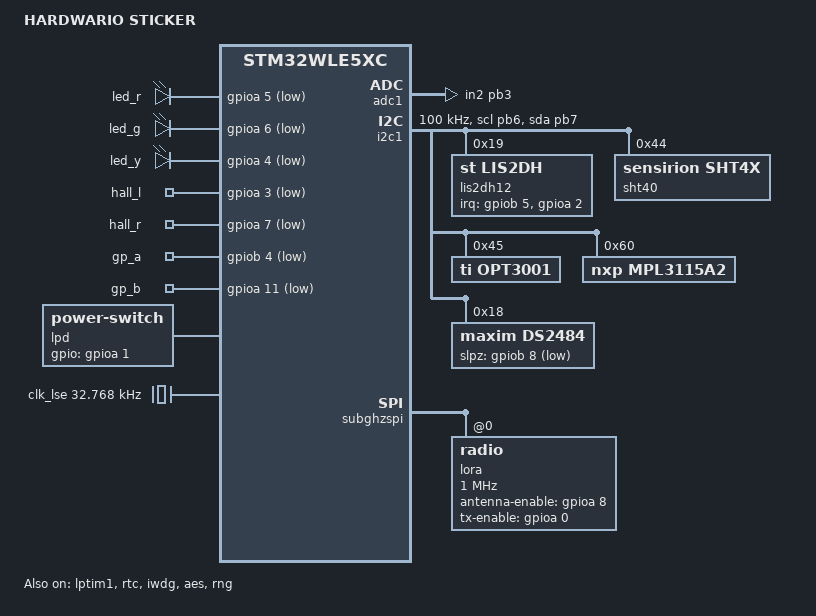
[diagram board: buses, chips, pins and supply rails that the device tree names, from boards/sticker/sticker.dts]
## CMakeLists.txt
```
#
# Copyright (c) 2024 HARDWARIO a.s.
#
# SPDX-License-Identifier: Apache-2.0
#

cmake_minimum_required(VERSION 3.20.0)

find_package(Zephyr REQUIRED HINTS $ENV{ZEPHYR_BASE})
project(sticker)

target_sources_ifdef(CONFIG_ADC app PRIVATE src/app_battery.c)
target_sources_ifdef(CONFIG_APP_PROFILE_STICKER_MOTION app PRIVATE src/app_pyq1648.c)
target_sources_ifdef(CONFIG_LIS2DH app PRIVATE src/app_accel.c)
target_sources_ifdef(CONFIG_OPT3001 app PRIVATE src/app_opt3001.c)
target_sources_ifdef(CONFIG_SHELL app PRIVATE src/app_tester.c)
target_sources_ifdef(CONFIG_SHT4X app PRIVATE src/app_sht40.c)
target_sources_ifdef(CONFIG_W1 app PRIVATE src/app_ds18b20.c)
target_sources_ifdef(CONFIG_W1 app PRIVATE src/app_w1.c)
target_sources_ifdef(CONFIG_WATCHDOG app PRIVATE src/app_wdog.c)
target_sources(app PRIVATE src/app_alarm.c)
target_sources(app PRIVATE src/app_compose.c)
target_sources(app PRIVATE src/app_config.c)
target_sources(app PRIVATE src/app_led.c)
target_sources(app PRIVATE src/app_lrw.c)
target_sources(app PRIVATE src/app_sensor.c)
target_sources(app PRIVATE src/main.c)
```

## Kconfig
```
#
# Copyright (c) 2025 HARDWARIO a.s.
#
# SPDX-License-Identifier: Apache-2.0
#

rsource "drivers/Kconfig"
```

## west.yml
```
manifest:
  version: "1.2"
  remotes:
    - name: hardwario
      url-base: https://github.com/hardwario
  projects:
    - name: sticker-zephyr
      remote: hardwario
      # Pinned to the head of v4.3.0-sticker2-branch so a release tag always
      # rebuilds the same Zephyr; bump the SHA together with the fork (#503).
      revision: 6f0a8bdfba79963e8fad0191f3df04021d31dc91
      path: zephyr
      import: true
  self:
    path: sticker
    west-commands: scripts/west-commands.yml
```

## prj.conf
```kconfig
# Application configuration

CONFIG_APP_PROFILE_STICKER_CLIME=y
CONFIG_APP_PROFILE_STICKER_INPUT=n
CONFIG_APP_PROFILE_STICKER_MOTION=n

CONFIG_APP_ALARM_INT_TEMP=n
CONFIG_APP_ALARM_EXT_TEMP=n

CONFIG_APP_ALARM_INT_TEMP_THR_LO_MUL_100=200
CONFIG_APP_ALARM_INT_TEMP_THR_HI_MUL_100=800
CONFIG_APP_ALARM_INT_TEMP_HST_MUL_100=50

CONFIG_APP_ALARM_EXT_TEMP_1_THR_LO_MUL_100=200
CONFIG_APP_ALARM_EXT_TEMP_1_THR_HI_MUL_100=800
CONFIG_APP_ALARM_EXT_TEMP_1_HST_MUL_100=50

CONFIG_APP_ALARM_EXT_TEMP_2_THR_LO_MUL_100=200
CONFIG_APP_ALARM_EXT_TEMP_2_THR_HI_MUL_100=800
CONFIG_APP_ALARM_EXT_TEMP_2_HST_MUL_100=50

# System configuration

CONFIG_HEAP_MEM_POOL_SIZE=4096
CONFIG_IDLE_STACK_SIZE=4096
CONFIG_ISR_STACK_SIZE=4096
CONFIG_MAIN_STACK_SIZE=4096
CONFIG_PRIVILEGED_STACK_SIZE=4096
CONFIG_SYSTEM_WORKQUEUE_STACK_SIZE=4096

CONFIG_REBOOT=y
CONFIG_I2C=y
CONFIG_SENSOR=y
CONFIG_PM=y
CONFIG_PM_DEVICE=y
CONFIG_PM_DEVICE_RUNTIME=y

CONFIG_SPI=y

CONFIG_NVS=y
CONFIG_FLASH=y
CONFIG_FLASH_MAP=y
CONFIG_SETTINGS=y

CONFIG_LORA=y
CONFIG_LORAMAC_REGION_EU868=y
CONFIG_LORAWAN_NVM_SETTINGS=y
CONFIG_LORAWAN_PUBLIC_NETWORK=n
CONFIG_LORAWAN=y

#CONFIG_LIS2DH_ACCEL_HP_FILTERS=y
CONFIG_LIS2DH_ACCEL_RANGE_4G=y
CONFIG_LIS2DH_BLOCK_DATA_UPDATE=y
CONFIG_LIS2DH_ODR_2=y
CONFIG_LIS2DH_OPER_MODE_LOW_POWER=y
#CONFIG_LIS2DH_TRIGGER_GLOBAL_THREAD=y

CONFIG_ENTROPY_GENERATOR=y

CONFIG_WATCHDOG=y
CONFIG_WDT_DISABLE_AT_BOOT=y

CONFIG_ADC=y

CONFIG_LIS2DH=y
CONFIG_OPT3001=n
CONFIG_SHT4X=y
```

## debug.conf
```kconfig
CONFIG_CBPRINTF_FP_SUPPORT=y

CONFIG_DEBUG=y

CONFIG_CONSOLE=y
CONFIG_RTT_CONSOLE=y

CONFIG_THREAD_NAME=y

CONFIG_USE_SEGGER_RTT=y

CONFIG_LOG=y
CONFIG_LOG_BACKEND_RTT_BUFFER_SIZE=2048
CONFIG_LOG_BACKEND_RTT_BUFFER=1
CONFIG_LOG_BACKEND_RTT_MESSAGE_SIZE=256
CONFIG_LOG_BACKEND_RTT_MODE_DROP=y
CONFIG_LOG_BACKEND_RTT=y
CONFIG_LOG_BACKEND_SHOW_COLOR=n
CONFIG_LOG_BUFFER_SIZE=2048
CONFIG_LOG_PROCESS_THREAD_SLEEP_MS=100
CONFIG_LOG_PROCESS_THREAD_STACK_SIZE=2048
CONFIG_LOG_PROCESS_TRIGGER_THRESHOLD=1

CONFIG_SHELL=y
CONFIG_SHELL_BACKEND_RTT_BUFFER=0
CONFIG_SHELL_BACKEND_RTT=y
CONFIG_SHELL_ECHO_STATUS=n
CONFIG_SHELL_HELP_ON_WRONG_ARGUMENT_COUNT=y
CONFIG_SHELL_HELP=y
CONFIG_SHELL_LOG_BACKEND=n
CONFIG_SHELL_MINIMAL=y
CONFIG_SHELL_PROMPT_RTT=""
CONFIG_SHELL_RTT_RX_POLL_PERIOD=200
CONFIG_SHELL_STACK_SIZE=2048
CONFIG_SHELL_VT100_COMMANDS=n

CONFIG_KERNEL_SHELL=y

CONFIG_I2C_SHELL=y

CONFIG_SEGGER_RTT_BUFFER_SIZE_DOWN=1024
CONFIG_SEGGER_RTT_BUFFER_SIZE_UP=1024

CONFIG_SEGGER_RTT_SECTION_CUSTOM=y

CONFIG_PM=n

CONFIG_LORA_LOG_LEVEL_DBG=n
CONFIG_SENSOR_LOG_LEVEL_DBG=n
CONFIG_W1_LOG_LEVEL_DBG=n

CONFIG_LORA_SHELL=y

#CONFIG_LORAWAN_PUBLIC_NETWORK=y
```

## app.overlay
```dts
#include <zephyr/dt-bindings/gpio/gpio.h>

/ {
	zephyr,user {
		pir-si-gpios = <&gpioa 11 GPIO_ACTIVE_HIGH>;
		pir-dl-gpios = <&gpiob 4 (GPIO_ACTIVE_HIGH | GPIO_PULL_DOWN)>;
	};
};
```

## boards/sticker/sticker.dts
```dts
/*
 * Copyright (c) 2025 HARDWARIO a.s.
 *
 * SPDX-License-Identifier: Apache-2.0
 */

/dts-v1/;

#include <st/wl/stm32wle5Xc.dtsi>
#include <st/wl/stm32wle5ccux-pinctrl.dtsi>
#include <zephyr/dt-bindings/sensor/lis2dh.h>

/ {
	model = "HARDWARIO STICKER";
	compatible = "hardwario,sticker";

	chosen {
		zephyr,sram = &sram0;
		zephyr,flash = &flash0;
		zephyr,code-partition = &code_partition;
	};

	leds {
		compatible = "gpio-leds";

		led_r: led_r {
			gpios = <&gpioa 5 GPIO_ACTIVE_LOW>;
		};

		led_g: led_g {
			gpios = <&gpioa 6 GPIO_ACTIVE_LOW>;
		};

		led_y: led_y {
			gpios = <&gpioa 4 GPIO_ACTIVE_LOW>;
		};
	};

	gpio_keys {
		compatible = "gpio-keys";

		hall_l: hall_l {
			gpios = <&gpioa 3 GPIO_ACTIVE_LOW>;
		};

		hall_r: hall_r {
			gpios = <&gpioa 7 GPIO_ACTIVE_LOW>;
		};

		gp_a: gp_a {
			gpios = <&gpiob 4 GPIO_ACTIVE_LOW>;
		};

		gp_b: gp_b {
			gpios = <&gpioa 11 GPIO_ACTIVE_LOW>;
		};
	};

	lpd: lpd {
		compatible = "power-switch";
		gpios = <&gpioa 1 GPIO_ACTIVE_HIGH>;
	};

	aliases {
		led0 = &led_r;
		led1 = &led_g;
		led2 = &led_y;
		lora0 = &lora;
		watchdog0 = &iwdg;
	};
};

stm32_lp_tick_source: &lptim1 {
	clocks = <&rcc STM32_CLOCK_BUS_APB1 0x80000000>, <&rcc STM32_SRC_LSE LPTIM1_SEL(3)>;
	status = "okay";
};

&clk_lse {
	clock-frequency = <32768>;
	/* Highest LSEDRV: ABS07 crystal (CL 12.5 pF, C20/C21 18 pF, ESR <= 70 kOhm)
	 * needs gm_crit ~2.3 uA/V; only LSEDRV=high (Gmcritmax 2.7 uA/V) fits (#477).
	 */
	driving-capability = <3>;
	status = "okay";
};

&clk_lsi {
	status = "okay";
};

&clk_msi {
	status = "okay";
	msi-range = <11>;
};

&rcc {
	clocks = <&clk_msi>;
	clock-frequency = <DT_FREQ_M(48)>;
	cpu1-prescaler = <1>;
	ahb3-prescaler = <1>;
	apb1-prescaler = <1>;
	apb2-prescaler = <1>;
};

&adc1 {
	pinctrl-0 = <&adc_in2_pb3>;
	pinctrl-names = "default";
	st,adc-clock-source = "SYNC";
	st,adc-prescaler = <4>;
	status = "okay";
};

&i2c1 {
	clock-frequency = <I2C_BITRATE_STANDARD>;
	pinctrl-0 = <&i2c1_scl_pb6 &i2c1_sda_pb7>;
	pinctrl-1 = <&analog_pb6 &analog_pb7>;
	pinctrl-names = "default", "sleep";
	/* Bus-recovery bit-bang pins (H-6, CONFIG_I2C_STM32_BUS_RECOVERY): same SCL
	 * PB6 / SDA PB7, driven as open-drain GPIOs to clock a wedged slave free. The
	 * bus has external pull-ups (onboard sensors). */
	scl-gpios = <&gpiob 6 GPIO_OPEN_DRAIN>;
	sda-gpios = <&gpiob 7 GPIO_OPEN_DRAIN>;
	status = "okay";

	lis2dh12: lis2dh12@19 {
		compatible = "st,lis2dh";
		reg = <0x19>;
		/* Any-motion = OR of |X|/|Y|/|Z| high events on the HP-filtered
		 * signal (app_accel.c enables the HPF on the IA2 path), i.e. the
		 * classic ST wake-up recipe. 6D_MOVEMENT would compare absolute
		 * axes against the threshold — with sub-1g thresholds gravity
		 * keeps the interrupt asserted permanently. */
		anym-mode = <LIS2DH_DT_ANYM_OR_COMBINATION>;
		/* INT2 (PA2) is active-high and latched (no anym-no-latch); the
		 * driver de-asserts it by reading INT2_SRC in its work handler.
		 * Rising-edge only: with the EDGE_BOTH default that SRC-read
		 * generates a falling edge that re-pends the (masked) EXTI line
		 * and immediately re-fires on re-enable. STM32 EXTI has no
		 * level-trigger support, so LEVEL_HIGH is not an option. */
		int2-gpio-config = <LIS2DH_DT_GPIO_INT_EDGE_RISING>;
		irq-gpios = <&gpiob 5 GPIO_ACTIVE_HIGH>,
			    <&gpioa 2 GPIO_ACTIVE_HIGH>;
		disconnect-sdo-sa0-pull-up;
		/* Deferred so the accel stays powered down (no ODR_5 sampling)
		 * unless cap-accelerometer is on; device_init() in app_sensor. */
		zephyr,deferred-init;
	};

	sht40: sht40@44 {
		compatible = "sensirion,sht4x";
		reg = <0x44>;
		repeatability = <2>;
	};

	opt3001: opt3001@45 {
		compatible = "ti,opt3001";
		reg = <0x45>;
		zephyr,deferred-init;
	};

	mpl3115a2: mpl3115a2@60 {
		compatible = "nxp,mpl3115a2";
		reg = <0x60>;
		zephyr,deferred-init;
	};

	ds2484: ds2484@18 {
		compatible = "maxim,ds2484";
		reg = <0x18>;
		slpz-gpios = <&gpiob 8 GPIO_ACTIVE_LOW>;
		active-pullup;
		zephyr,deferred-init;

		ds18b20_0: ds18b20_0 {
			compatible = "maxim,ds18b20";
			resolution = <12>;
			family-code = <0x28>;
			zephyr,deferred-init;
		};

		ds18b20_1: ds18b20_1 {
			compatible = "maxim,ds18b20";
			resolution = <12>;
			family-code = <0x28>;
			zephyr,deferred-init;
		};

		machine_probe_0: machine_probe_0 {
			compatible = "maxim,ds28e17";
			family-code = <0x19>;
			zephyr,deferred-init;
		};

		machine_probe_1: machine_probe_1 {
			compatible = "maxim,ds28e17";
			family-code = <0x19>;
			zephyr,deferred-init;
		};
	};
};

&rtc {
	clocks = <&rcc STM32_CLOCK_BUS_APB1 0x00000400>,
		 <&rcc STM32_SRC_LSE RTC_SEL(1)>;
	status = "okay";
};

&iwdg {
	status = "okay";
};

&aes {
	status = "okay";
};

&rng {
	status = "okay";
	clocks = <&rcc STM32_CLOCK_BUS_AHB3 0x00040000>,
		 <&rcc STM32_SRC_MSI RNG_SEL(3)>;
};

&subghzspi {
	status = "okay";
	lora: radio@0 {
		status = "okay";
		antenna-enable-gpios = <&gpioa 8 GPIO_ACTIVE_HIGH>;
		tx-enable-gpios = <&gpioa 0 GPIO_ACTIVE_HIGH>;
		dio3-tcxo-voltage = <SX126X_DIO3_TCXO_3V3>;
		tcxo-power-startup-delay-ms = <5>;
		power-amplifier-output = "rfo-lp";
		rfo-lp-max-power = <14>;
		spi-max-frequency = <1000000>;
	};
};

&flash0 {
	partitions {
		compatible = "fixed-partitions";
		#address-cells = <1>;
		#size-cells = <1>;

		/* Flat application image from the flash base — no bootloader is
		 * active (NFC firmware update / variant-B bootloader was removed;
		 * a future MCUboot/FUOTA layout would redesign this map). The image
		 * is linked against CONFIG_FLASH_LOAD_SIZE (the linker fails the
		 * build on overflow), because flash regions written at runtime
		 * corrupt an image leaking into them — the device then hard-faults
		 * on the next boot (recoverable only by mass erase):
		 *  - release (CONFIG_APP_HISTORY_FLASH=y) writes the history ring
		 *    here: budget = history_partition offset (prj.conf, 0x34000)
		 *  - debug keeps history in RAM but NVS settings + LoRaWAN NVM
		 *    always write storage: budget = storage_partition offset
		 *    (debug.conf, 0x3C000)
		 *
		 * The history partition shrank 80 KB → 64 KB (#265) then 64 KB →
		 * 32 KB (#302): the raw flash ring backend packs ~10x more records
		 * per byte than the old NVS backend, so even 32 KB retains 42+ days
		 * of history at the worst-case channel count (15 min interval), and
		 * the freed flash goes to code (160 KB → 176 KB → 208 KB).
		 */
		code_partition: partition@0 {
			label = "code";
			reg = <0x00000000 DT_SIZE_K(208)>;
			read-only;
		};

		/* Sensor history store-and-forward buffer (app_history.c,
		 * FIXED_PARTITION_ID(history_partition)) — raw flash page ring (#265).
		 * 32 KB = 16 × 2 KB erase pages (#302, shrunk from 64 KB / 32 pages).
		 * Erasing on the first boot after a remap (old data at the previous
		 * offset is now garbage) is handled by the #96 mount-fail → erase →
		 * remount recovery path. */
		history_partition: partition@34000 {
			label = "history";
			reg = <0x00034000 DT_SIZE_K(32)>;
		};

		storage_partition: partition@3c000 {
			label = "storage";
			reg = <0x0003c000 DT_SIZE_K(16)>;
		};
	};
};
```

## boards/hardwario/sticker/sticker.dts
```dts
/*
 * Copyright (c) 2024 HARDWARIO a.s.
 *
 * SPDX-License-Identifier: Apache-2.0
 */

/dts-v1/;

#include <st/wl/stm32wle5Xc.dtsi>
#include <st/wl/stm32wle5ccux-pinctrl.dtsi>
#include <zephyr/dt-bindings/input/input-event-codes.h>
#include <zephyr/dt-bindings/sensor/lis2dh.h>

/ {
	model = "HARDWARIO STICKER";
	compatible = "hardwario,sticker";

	chosen {
		zephyr,sram = &sram0;
		zephyr,flash = &flash0;
		zephyr,code-partition = &slot0_partition;
	};

	leds {
		compatible = "gpio-leds";

		led_r: led_r {
			gpios = <&gpioa 5 GPIO_ACTIVE_LOW>;
		};

		led_g: led_g {
			gpios = <&gpioa 6 GPIO_ACTIVE_LOW>;
		};

		led_y: led_y {
			gpios = <&gpioa 4 GPIO_ACTIVE_LOW>;
		};
	};

	aliases {
		led0 = &led_r;
		led1 = &led_g;
		led2 = &led_y;
		lora0 = &lora;
		watchdog0 = &iwdg;
	};
};

stm32_lp_tick_source: &lptim1 {
	clocks = <&rcc STM32_CLOCK_BUS_APB1 0x80000000>, <&rcc STM32_SRC_LSE LPTIM1_SEL(3)>;
	status = "okay";
};

&clk_lse {
	clock-frequency = <32768>;
	driving-capability = <1>;
	status = "okay";
};

&clk_lsi {
	status = "okay";
};

&clk_msi {
	status = "okay";
	msi-range = <11>;
};

&rcc {
	clocks = <&clk_msi>;
	clock-frequency = <DT_FREQ_M(48)>;
	cpu1-prescaler = <1>;
	ahb3-prescaler = <1>;
	apb1-prescaler = <1>;
	apb2-prescaler = <1>;
};

&adc1 {
	pinctrl-0 = <&adc_in2_pb3>;
	pinctrl-names = "default";
	st,adc-clock-source = <SYNC>;
	st,adc-prescaler = <4>;
	status = "okay";
};

&gpioa {
	lpd {
		gpio-hog;
		gpios = <1 GPIO_ACTIVE_HIGH>;
		output-high;
	};
};

&i2c1 {
	clock-frequency = <I2C_BITRATE_STANDARD>;
	pinctrl-0 = <&i2c1_scl_pb6 &i2c1_sda_pb7>;
	pinctrl-1 = <&i2c1_scl_pb6 &i2c1_sda_pb7>;
	pinctrl-names = "default", "sleep";
	status = "okay";

	ds2484: ds2484@18 {
		compatible = "maxim,ds2484";
		reg = <0x18>;
		slpz-gpios = <&gpiob 8 GPIO_ACTIVE_LOW>;
		active-pullup;

		ds18b20_0: ds18b20_0 {
			compatible = "maxim,ds18b20";
			resolution = <12>;
			family-code = <0x28>;
		};

		ds18b20_1: ds18b20_1 {
			compatible = "maxim,ds18b20";
			resolution = <12>;
			family-code = <0x28>;
		};
	};

	lis2dh12: lis2dh12@19 {
		compatible = "st,lis2dh";
		reg = <0x19>;
		anym-mode = <LIS2DH_DT_ANYM_6D_MOVEMENT>;
		irq-gpios = <&gpiob 5 GPIO_ACTIVE_HIGH>,
			    <&gpioa 2 GPIO_ACTIVE_HIGH>;
		disconnect-sdo-sa0-pull-up;
	};

	opt3001: opt3001@45 {
		compatible = "ti,opt3001";
		reg = <0x45>;
	};

	sht40: sht40@44 {
		compatible = "sensirion,sht4x";
		reg = <0x44>;
		repeatability = <2>;
	};
};

&rtc {
	clocks = <&rcc STM32_CLOCK_BUS_APB1 0x00000400>,
		 <&rcc STM32_SRC_LSE RTC_SEL(1)>;
	status = "okay";
};

&iwdg {
	status = "okay";
};

&aes {
	status = "okay";
};

&rng {
	status = "okay";
	clocks = <&rcc STM32_CLOCK_BUS_AHB3 0x00040000>,
		 <&rcc STM32_SRC_MSI RNG_SEL(3)>;
};

&subghzspi {
	status = "okay";
	lora: radio@0 {
		status = "okay";
		antenna-enable-gpios = <&gpioa 8 GPIO_ACTIVE_HIGH>;
		tx-enable-gpios = <&gpioa 0 GPIO_ACTIVE_HIGH>;
		dio3-tcxo-voltage = <SX126X_DIO3_TCXO_3V3>;
		tcxo-power-startup-delay-ms = <5>;
		power-amplifier-output = "rfo-lp";
		rfo-lp-max-power = <14>;
		spi-max-frequency = <1000000>;
	};
};

&flash0 {
	partitions {
		compatible = "fixed-partitions";
		#address-cells = <1>;
		#size-cells = <1>;

		boot_partition: partition@0 {
			label = "mcuboot";
			reg = <0x00000000 DT_SIZE_K(32)>;
			read-only;
		};

		slot0_partition: partition@8000 {
			label = "image-0";
			reg = <0x00008000 DT_SIZE_K(108)>;
		};

		slot1_partition: partition@23000 {
			label = "image-1";
			reg = <0x00023000 DT_SIZE_K(108)>;
		};

		storage_partition: partition@3e000 {
			label = "storage";
			reg = <0x0003e000 DT_SIZE_K(8)>;
		};
	};
};
```

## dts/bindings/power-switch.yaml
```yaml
#
# Copyright (c) 2025 HARDWARIO a.s.
#
# SPDX-License-Identifier: Apache-2.0
#

description: GPIO pin to switch a power output on or off

compatible: "power-switch"

properties:
  gpios:
    type: phandle-array
    required: true
```

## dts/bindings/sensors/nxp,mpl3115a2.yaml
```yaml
#
# Copyright (c) 2025 HARDWARIO a.s.
#
# SPDX-License-Identifier: Apache-2.0
#

description: NXP MPL3115A2 Barometric Pressure/Altitude/Temperature Sensor

compatible: "nxp,mpl3115a2"

include: [sensor-device.yaml, i2c-device.yaml]
```

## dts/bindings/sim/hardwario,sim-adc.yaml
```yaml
#
# Copyright (c) 2026 HARDWARIO a.s.
#
# SPDX-License-Identifier: Apache-2.0
#

description: |
  STICKER simulator ADC. Reports a fixed voltage per channel, set by the
  simulator (`sim battery`, `sim analog`). Internal reference 3300 mV.

compatible: "hardwario,sim-adc"

include: adc-controller.yaml

properties:
  "#io-channel-cells":
    const: 1

io-channel-cells:
  - input
```

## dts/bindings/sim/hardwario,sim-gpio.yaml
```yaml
#
# Copyright (c) 2026 HARDWARIO a.s.
#
# SPDX-License-Identifier: Apache-2.0
#

description: |
  STICKER simulator input-only GPIO port for interrupt lines driven by an
  emulator (sim_gpio.c). Unlike zephyr,gpio-emul it does not run the pin
  callbacks on every configure, so a driver that shares a pin with the
  application sees only real edges, as on the STM32 EXTI.

compatible: "hardwario,sim-gpio"

include: [gpio-controller.yaml, base.yaml]

properties:
  "#gpio-cells":
    const: 2

gpio-cells:
  - pin
  - flags
```

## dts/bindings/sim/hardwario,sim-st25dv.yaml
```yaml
#
# Copyright (c) 2026 HARDWARIO a.s.
#
# SPDX-License-Identifier: Apache-2.0
#

description: |
  STICKER simulator ST25DV04K NFC tag. One node per I2C device address of the
  chip (0x53 user memory / dynamic registers / mailbox, 0x57 system area); the
  nodes share one chip state. The application drives the chip directly over
  I2C (app_nfc.c), so there is no Zephyr driver behind it.

compatible: "hardwario,sim-st25dv"

include: i2c-device.yaml
```

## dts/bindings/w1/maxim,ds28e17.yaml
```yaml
#
# Copyright (c) 2025 HARDWARIO a.s.
#
# SPDX-License-Identifier: Apache-2.0
#

description: DS28E17 1-Wire-to-I2C Master Bridge

compatible: "maxim,ds28e17"

include: w1-slave.yaml
```

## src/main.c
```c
#include "app_alarm.h"
#include "app_compose.h"
#include "app_config.h"
#include "app_led.h"
#include "app_lrw.h"
#include "app_sensor.h"
#include "app_wdog.h"
#include "app_tester.h"

/* Zephyr includes */
#include <zephyr/init.h>
#include <zephyr/kernel.h>
#include <zephyr/logging/log.h>
#include <zephyr/random/random.h>
#include <zephyr/shell/shell.h>

/* Standard includes */
#include <errno.h>
#include <stddef.h>
#include <stdint.h>

LOG_MODULE_REGISTER(main, LOG_LEVEL_DBG);

#define BLINK_INTERVAL_SECONDS 3

static struct k_timer m_send_timer;

static K_THREAD_STACK_DEFINE(m_send_work_stack, 4096);
static struct k_work_q m_send_work_q;

static void send_work_handler(struct k_work *work)
{
	int ret;

	int timeout = g_app_config.interval_report;

#if defined(CONFIG_ENTROPY_GENERATOR)
	timeout += (int32_t)sys_rand32_get() % (g_app_config.interval_report / 10);
#endif /* defined(CONFIG_ENTROPY_GENERATOR) */

	LOG_INF("Scheduling next timeout in %d seconds", timeout);

	k_timer_start(&m_send_timer, K_SECONDS(timeout), K_FOREVER);

	if (!g_app_config.interval_sample) {
		app_sensor_sample();
	}

	uint8_t buf[51];
	size_t len;
	ret = app_compose(buf, sizeof(buf), &len);
	if (ret) {
		LOG_ERR("Call `app_compose` failed: %d", ret);
		return;
	}

	LOG_INF("Sending data...");

	ret = app_lrw_send(buf, len);
	if (ret) {
		LOG_ERR("Call `app_lrw_send` failed: %d", ret);
		return;
	}

	LOG_INF("Data sent");
}

static K_WORK_DEFINE(m_send_work, send_work_handler);

static void send_timer_handler(struct k_timer *timer)
{
	k_work_submit_to_queue(&m_send_work_q, &m_send_work);
}

static K_TIMER_DEFINE(m_send_timer, send_timer_handler, NULL);

static void carousel(void)
{
	app_led_set(APP_LED_CHANNEL_R, 1);
	k_sleep(K_MSEC(500));
	app_led_set(APP_LED_CHANNEL_R, 0);
	k_sleep(K_MSEC(250));
	app_led_set(APP_LED_CHANNEL_Y, 1);
	k_sleep(K_MSEC(500));
	app_led_set(APP_LED_CHANNEL_Y, 0);
	k_sleep(K_MSEC(250));
	app_led_set(APP_LED_CHANNEL_G, 1);
	k_sleep(K_MSEC(1500));
	app_led_set(APP_LED_CHANNEL_G, 0);
}

int main(void)
{
	int ret;

	LOG_INF("Build time: " __DATE__ " " __TIME__);

	carousel();

	ret = app_lrw_join();
	if (ret) {
		LOG_ERR("Call `app_lrw_join` failed: %d", ret);
		return ret;
	}

	k_work_queue_init(&m_send_work_q);

	k_work_queue_start(&m_send_work_q, m_send_work_stack,
			   K_THREAD_STACK_SIZEOF(m_send_work_stack),
			   K_LOWEST_APPLICATION_THREAD_PRIO, NULL);

	k_timer_start(&m_send_timer, K_SECONDS(5), K_FOREVER);

	for (;;) {
		LOG_INF("Alive");

#if defined(CONFIG_WATCHDOG)
		ret = app_wdog_feed();
		if (ret) {
			LOG_ERR("Call `app_wdog_feed` failed: %d", ret);
			return ret;
		}
#endif /* defined(CONFIG_WATCHDOG) */

		if (app_alarm_is_active()) {
			app_led_set(APP_LED_CHANNEL_R, 1);
			k_sleep(K_MSEC(5));
			app_led_set(APP_LED_CHANNEL_R, 0);
		} else {
			app_led_set(APP_LED_CHANNEL_G, 1);
			k_sleep(K_MSEC(5));
			app_led_set(APP_LED_CHANNEL_G, 0);
		}

		k_sleep(K_SECONDS(BLINK_INTERVAL_SECONDS));
	}

	return 0;
}

static int init(void)
{
	k_sleep(K_MSEC(500));

	return 0;
}

SYS_INIT(init, POST_KERNEL, 0);

#if defined(CONFIG_SHELL)

static int cmd_join(const struct shell *shell, size_t argc, char **argv)
{
	int ret;

	ret = app_lrw_join();
	if (ret) {
		LOG_ERR("Call `app_lrw_join` failed: %d", ret);
		shell_print(shell, "command failed: %d", ret);
		return ret;
	}

	shell_print(shell, "command succeeded");

	return 0;
}

static int cmd_send(const struct shell *shell, size_t argc, char **argv)
{
	k_timer_start(&m_send_timer, K_NO_WAIT, K_FOREVER);

	shell_print(shell, "command succeeded");

	return 0;
}

SHELL_CMD_REGISTER(join, NULL, "Join LoRaWAN network.", cmd_join);
SHELL_CMD_REGISTER(send, NULL, "Send LoRaWAN data.", cmd_send);

#endif /* defined(CONFIG_SHELL) */
```

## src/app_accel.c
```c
/*
 * Copyright (c) 2024 HARDWARIO a.s.
 *
 * SPDX-License-Identifier: Apache-2.0
 */

#include "app_accel.h"

/* Zephyr includes */
#include <zephyr/device.h>
#include <zephyr/devicetree.h>
#include <zephyr/drivers/sensor.h>
#include <zephyr/kernel.h>
#include <zephyr/logging/log.h>

/* Standard includes */
#include <errno.h>
#include <math.h>
#include <stddef.h>

LOG_MODULE_REGISTER(app_accel, LOG_LEVEL_DBG);

#define GRAVITY         9.80665f
#define ORIENTATION_THR 0.4f

static const int m_vectors[7][3] = {
	[0] = {0, 0, 0},  [1] = {-1, 0, 0}, [2] = {0, 0, 1}, [3] = {0, 1, 0},
	[4] = {0, -1, 0}, [5] = {0, 0, -1}, [6] = {1, 0, 0},
};

static int m_orientation;

static K_MUTEX_DEFINE(m_lock);

static void update_orientation(float coeff_x, float coeff_y, float coeff_z)
{
	int vector_x = m_vectors[m_orientation][0];
	int vector_y = m_vectors[m_orientation][1];
	int vector_z = m_vectors[m_orientation][2];

	if ((vector_x == 0 && (coeff_x < -ORIENTATION_THR || coeff_x > ORIENTATION_THR)) ||
	    (vector_x == 1 && (coeff_x < 1.f - ORIENTATION_THR)) ||
	    (vector_x == -1 && (coeff_x > -1.f + ORIENTATION_THR))) {
		goto update;
	}

	if ((vector_y == 0 && (coeff_y < -ORIENTATION_THR || coeff_y > ORIENTATION_THR)) ||
	    (vector_y == 1 && (coeff_y < 1.f - ORIENTATION_THR)) ||
	    (vector_y == -1 && (coeff_y > -1.f + ORIENTATION_THR))) {
		goto update;
	}

	if ((vector_z == 0 && (coeff_z < -ORIENTATION_THR || coeff_z > ORIENTATION_THR)) ||
	    (vector_z == 1 && (coeff_z < 1.f - ORIENTATION_THR)) ||
	    (vector_z == -1 && (coeff_z > -1.f + ORIENTATION_THR))) {
		goto update;
	}

	return;

update:

	for (int i = 1; i <= 6; i++) {
		float delta_x = fabsf(m_vectors[i][0] - coeff_x);
		float delta_y = fabsf(m_vectors[i][1] - coeff_y);
		float delta_z = fabsf(m_vectors[i][2] - coeff_z);

		if (delta_x < 1.f - ORIENTATION_THR && delta_y < 1.f - ORIENTATION_THR &&
		    delta_z < 1.f - ORIENTATION_THR) {
			m_orientation = i;
			return;
		}
	}
}

int app_accel_read(float *accel_x, float *accel_y, float *accel_z, int *orientation)
{
	int ret;

	k_mutex_lock(&m_lock, K_FOREVER);

	const struct device *dev = DEVICE_DT_GET(DT_NODELABEL(lis2dh12));

	if (!device_is_ready(dev)) {
		LOG_ERR("Device not ready");
		k_mutex_unlock(&m_lock);
		return -ENODEV;
	}

	/* TODO Check if this is the best aprroach */
	for (int i = 0; i < 5; i++) {
		ret = sensor_sample_fetch(dev);

		if (ret != ENODATA) {
			break;
		}

		k_sleep(K_MSEC(10));
	}

	if (ret) {
		LOG_ERR("Call `sensor_sample_fetch` failed: %d", ret);
		k_mutex_unlock(&m_lock);
		return ret;
	}

	struct sensor_value val[3];
	ret = sensor_channel_get(dev, SENSOR_CHAN_ACCEL_XYZ, val);
	if (ret) {
		LOG_ERR("Call `sensor_channel_get` failed: %d", ret);
		k_mutex_unlock(&m_lock);
		return ret;
	}

	float accel_x_ = sensor_value_to_float(&val[0]);
	float accel_y_ = sensor_value_to_float(&val[1]);
	float accel_z_ = sensor_value_to_float(&val[2]);

	LOG_DBG("Acceleration X: %.3f m/s^2", (double)accel_x_);
	LOG_DBG("Acceleration Y: %.3f m/s^2", (double)accel_y_);
	LOG_DBG("Acceleration Z: %.3f m/s^2", (double)accel_z_);

	if (accel_x != NULL) {
		*accel_x = accel_x_;
	}

	if (accel_y != NULL) {
		*accel_y = accel_y_;
	}

	if (accel_z != NULL) {
		*accel_z = accel_z_;
	}

	update_orientation(accel_x_ / GRAVITY, accel_y_ / GRAVITY, accel_z_ / GRAVITY);

	int orientation_ = m_orientation;

	LOG_DBG("Orientation: %d", orientation_);

	if (orientation != NULL) {
		*orientation = orientation_;
	}

	k_mutex_unlock(&m_lock);

	return 0;
}
```

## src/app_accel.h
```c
/*
 * Copyright (c) 2024 HARDWARIO a.s.
 *
 * SPDX-License-Identifier: Apache-2.0
 */

#ifndef APP_ACCEL_H_
#define APP_ACCEL_H_

#ifdef __cplusplus
extern "C" {
#endif

int app_accel_read(float *accel_x, float *accel_y, float *accel_z, int *orientation);

#ifdef __cplusplus
}
#endif

#endif /* APP_ACCEL_H_ */
```

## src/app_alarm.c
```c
/*
 * Copyright (c) 2024 HARDWARIO a.s.
 *
 * SPDX-License-Identifier: Apache-2.0
 */

#include "app_alarm.h"
#include "app_sensor.h"

/* Zephyr includes */
#include <zephyr/kernel.h>
#include <zephyr/logging/log.h>

/* Standard includes */
#include <errno.h>
#include <math.h>
#include <stdbool.h>

LOG_MODULE_REGISTER(app_alarm, LOG_LEVEL_DBG);

#define ALARM_INT_TEMP_THR_LO   (CONFIG_APP_ALARM_INT_TEMP_THR_LO_MUL_100 / 100.f)
#define ALARM_INT_TEMP_THR_HI   (CONFIG_APP_ALARM_INT_TEMP_THR_HI_MUL_100 / 100.f)
#define ALARM_INT_TEMP_HST      (CONFIG_APP_ALARM_INT_TEMP_HST_MUL_100 / 100.f)
#define ALARM_EXT_TEMP_1_THR_LO (CONFIG_APP_ALARM_EXT_TEMP_1_THR_LO_MUL_100 / 100.f)
#define ALARM_EXT_TEMP_1_THR_HI (CONFIG_APP_ALARM_EXT_TEMP_1_THR_HI_MUL_100 / 100.f)
#define ALARM_EXT_TEMP_1_HST    (CONFIG_APP_ALARM_EXT_TEMP_1_HST_MUL_100 / 100.f)
#define ALARM_EXT_TEMP_2_THR_LO (CONFIG_APP_ALARM_EXT_TEMP_2_THR_LO_MUL_100 / 100.f)
#define ALARM_EXT_TEMP_2_THR_HI (CONFIG_APP_ALARM_EXT_TEMP_2_THR_HI_MUL_100 / 100.f)
#define ALARM_EXT_TEMP_2_HST    (CONFIG_APP_ALARM_EXT_TEMP_2_HST_MUL_100 / 100.f)

bool app_alarm_is_active(void)
{
	static bool alarm_int_temp = false;

	if (isnan(g_app_sensor_data.temperature)) {
		alarm_int_temp = false;
	} else if (alarm_int_temp) {
		if (g_app_sensor_data.temperature > (ALARM_INT_TEMP_THR_LO + ALARM_INT_TEMP_HST) &&
		    g_app_sensor_data.temperature < (ALARM_INT_TEMP_THR_HI - ALARM_INT_TEMP_HST)) {
			LOG_INF("Deactivated alarm for internal temperature");

			alarm_int_temp = false;
		}
	} else {
		if (g_app_sensor_data.temperature < (ALARM_INT_TEMP_THR_LO - ALARM_INT_TEMP_HST) ||
		    g_app_sensor_data.temperature > (ALARM_INT_TEMP_THR_HI + ALARM_INT_TEMP_HST)) {
			LOG_INF("Activated alarm for internal temperature");

			alarm_int_temp = true;
		}
	}

	static bool alarm_ext_temp_1 = false;

	if (isnan(g_app_sensor_data.ext_temperature_1)) {
		alarm_ext_temp_1 = false;
	} else if (alarm_ext_temp_1) {
		if (g_app_sensor_data.ext_temperature_1 >
			    (ALARM_EXT_TEMP_1_THR_LO + ALARM_EXT_TEMP_1_HST) &&
		    g_app_sensor_data.ext_temperature_1 <
			    (ALARM_EXT_TEMP_1_THR_HI - ALARM_EXT_TEMP_1_HST)) {
			LOG_INF("Deactivated alarm for external temperature 1");

			alarm_ext_temp_1 = false;
		}
	} else {
		if (g_app_sensor_data.ext_temperature_1 <
			    (ALARM_EXT_TEMP_1_THR_LO - ALARM_EXT_TEMP_1_HST) ||
		    g_app_sensor_data.ext_temperature_1 >
			    (ALARM_EXT_TEMP_1_THR_HI + ALARM_EXT_TEMP_1_HST)) {
			LOG_INF("Activated alarm for external temperature 1");

			alarm_ext_temp_1 = true;
		}
	}

	static bool alarm_ext_temp_2 = false;

	if (isnan(g_app_sensor_data.ext_temperature_2)) {
		alarm_ext_temp_2 = false;
	} else if (alarm_ext_temp_2) {
		if (g_app_sensor_data.ext_temperature_2 >
			    (ALARM_EXT_TEMP_2_THR_LO + ALARM_EXT_TEMP_2_HST) &&
		    g_app_sensor_data.ext_temperature_2 <
			    (ALARM_EXT_TEMP_2_THR_HI - ALARM_EXT_TEMP_2_HST)) {
			LOG_INF("Deactivated alarm for external temperature 2");

			alarm_ext_temp_2 = false;
		}
	} else {
		if (g_app_sensor_data.ext_temperature_2 <
			    (ALARM_EXT_TEMP_2_THR_LO - ALARM_EXT_TEMP_2_HST) ||
		    g_app_sensor_data.ext_temperature_2 >
			    (ALARM_EXT_TEMP_2_THR_HI + ALARM_EXT_TEMP_2_HST)) {
			LOG_INF("Activated alarm for external temperature 2");

			alarm_ext_temp_2 = true;
		}
	}

	bool alarm = false;

#if defined(CONFIG_APP_ALARM_INT_TEMP)
	alarm = alarm_int_temp ? true : alarm;
#endif /* defined(CONFIG_APP_ALARM_INT_TEMP) */

#if defined(CONFIG_APP_ALARM_EXT_TEMP)
	alarm = alarm_ext_temp_1 ? true : alarm;
	alarm = alarm_ext_temp_2 ? true : alarm;
#endif /* defined(CONFIG_APP_ALARM_EXT_TEMP) */

	return alarm;
}
```

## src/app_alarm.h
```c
/*
 * Copyright (c) 2024 HARDWARIO a.s.
 *
 * SPDX-License-Identifier: Apache-2.0
 */

#ifndef APP_ALARM_H_
#define APP_ALARM_H_

/* Standard includes */
#include <stdbool.h>

#ifdef __cplusplus
extern "C" {
#endif

bool app_alarm_is_active(void);

#ifdef __cplusplus
}
#endif

#endif /* APP_ALARM_H_ */
```

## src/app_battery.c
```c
/*
 * Copyright (c) 2024 HARDWARIO a.s.
 *
 * SPDX-License-Identifier: Apache-2.0
 */

#include "app_led.h"

/* Zephyr includes */
#include <zephyr/device.h>
#include <zephyr/devicetree.h>
#include <zephyr/drivers/adc.h>
#include <zephyr/init.h>
#include <zephyr/kernel.h>
#include <zephyr/logging/log.h>
#include <zephyr/pm/device.h>

/* Standard includes */
#include <errno.h>

LOG_MODULE_REGISTER(app_battery, LOG_LEVEL_DBG);

#define ADC_CHANNEL_BATT 2

#define R1_KOHM 560
#define R2_KOHM 100

static const struct device *m_dev = DEVICE_DT_GET(DT_NODELABEL(adc1));

static const struct adc_channel_cfg m_channel_cfg = {
	.gain = ADC_GAIN_1,
	.reference = ADC_REF_INTERNAL,
	.acquisition_time = ADC_ACQ_TIME_MAX,
	.channel_id = ADC_CHANNEL_BATT,
	.differential = 0,
};

int app_battery_measure(float *voltage)
{
	int ret;

	if (!device_is_ready(m_dev)) {
		LOG_ERR("Device not ready");
		return -ENODEV;
	}

#if defined(CONFIG_PM_DEVICE)
	ret = pm_device_action_run(m_dev, PM_DEVICE_ACTION_RESUME);
	if (ret && ret != -EALREADY) {
		LOG_ERR("Call `pm_device_action_run` failed: %d", ret);
		return ret;
	}
#endif /* defined(CONFIG_PM_DEVICE) */

	int16_t sample;

	struct adc_sequence seq = {
		.channels = BIT(ADC_CHANNEL_BATT),
		.buffer = &sample,
		.buffer_size = sizeof(sample),
		.resolution = 12,
	};

	ret = adc_read(m_dev, &seq);
	if (ret) {
		LOG_ERR("Call `adc_read` failed: %d", ret);
		return ret;
	}

	int32_t voltage_ = sample;
	ret = adc_raw_to_millivolts(adc_ref_internal(m_dev), m_channel_cfg.gain, seq.resolution,
				    &voltage_);
	if (ret) {
		LOG_ERR("Call `adc_raw_to_millivolts` failed: %d", ret);
		return ret;
	}

	LOG_DBG("ADC voltage: %d mV (raw: %d)", voltage_, sample);

	if (voltage) {
		*voltage = voltage_ / 1000.f;
		*voltage = *voltage / R2_KOHM * (R1_KOHM + R2_KOHM);
	}

	LOG_DBG("Battery voltage: %.2f V", (double)*voltage);

#if defined(CONFIG_PM_DEVICE)
	ret = pm_device_action_run(m_dev, PM_DEVICE_ACTION_SUSPEND);
	if (ret && ret != -EALREADY) {
		LOG_ERR("Call `pm_device_action_run` failed: %d", ret);
		return ret;
	}
#endif /* defined(CONFIG_PM_DEVICE) */

	return 0;
}

static int init(void)
{
	int ret;

	if (!device_is_ready(m_dev)) {
		LOG_ERR("Device not ready");
		return -ENODEV;
	}

	ret = adc_channel_setup(m_dev, &m_channel_cfg);
	if (ret) {
		LOG_ERR("Call `adc_channel_setup` failed: %d", ret);
		return ret;
	}

#if defined(CONFIG_PM_DEVICE)
	ret = pm_device_action_run(m_dev, PM_DEVICE_ACTION_SUSPEND);
	if (ret && ret != -EALREADY) {
		LOG_ERR("Call `pm_device_action_run` failed: %d", ret);
		return ret;
	}
#endif /* defined(CONFIG_PM_DEVICE) */

	return 0;
}

SYS_INIT(init, APPLICATION, 0);
```

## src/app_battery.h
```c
/*
 * Copyright (c) 2024 HARDWARIO a.s.
 *
 * SPDX-License-Identifier: Apache-2.0
 */

#ifndef APP_BATTERY_H_
#define APP_BATTERY_H_

#ifdef __cplusplus
extern "C" {
#endif

int app_battery_measure(float *voltage);

#ifdef __cplusplus
}
#endif

#endif /* APP_BATTERY_H_ */
```

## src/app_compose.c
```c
/*
 * Copyright (c) 2024 HARDWARIO a.s.
 *
 * SPDX-License-Identifier: Apache-2.0
 */

#include "app_compose.h"
#include "app_sensor.h"

/* Zephyr includes */
#include <zephyr/kernel.h>
#include <zephyr/logging/log.h>

/* Standard includes */
#include <errno.h>
#include <limits.h>
#include <math.h>
#include <stdbool.h>
#include <stddef.h>
#include <stdint.h>
#include <string.h>

LOG_MODULE_REGISTER(app_compose, LOG_LEVEL_DBG);

int app_compose(uint8_t *buf, size_t size, size_t *len)
{
	static bool boot = true;

	uint16_t header = boot ? BIT(15) : 0;

	boot = false;

	uint8_t orientation = 0xff;
	uint8_t voltage = 0xff;
	int16_t temperature = 0x7fff;
	uint8_t humidity = 0xff;
	uint16_t illuminance = 0xffff;
	int16_t ext_temperature_1 = 0x7fff;
	int16_t ext_temperature_2 = 0x7fff;

#if defined(CONFIG_APP_PROFILE_STICKER_MOTION)
	uint32_t motion_count = 0xffffffff;
#endif /* defined(CONFIG_APP_PROFILE_STICKER_MOTION) */

	k_mutex_lock(&g_app_sensor_data_lock, K_FOREVER);

	if (g_app_sensor_data.orientation != INT_MAX) {
		orientation = g_app_sensor_data.orientation & 0xf;
		header |= BIT(14);
	}

	if (!isnan(g_app_sensor_data.voltage)) {
		voltage = (uint8_t)(g_app_sensor_data.voltage * 50);
		header |= BIT(13);
	}

	if (!isnan(g_app_sensor_data.temperature)) {
		temperature = (int16_t)(g_app_sensor_data.temperature * 100);
		header |= BIT(12);
	}

	if (!isnan(g_app_sensor_data.humidity)) {
		humidity = (uint8_t)(g_app_sensor_data.humidity * 2);
		header |= BIT(11);
	}

	if (!isnan(g_app_sensor_data.illuminance)) {
		illuminance = (uint16_t)(g_app_sensor_data.illuminance * 2);
		header |= BIT(10);
	}

	if (!isnan(g_app_sensor_data.ext_temperature_1)) {
		ext_temperature_1 = (int16_t)(g_app_sensor_data.ext_temperature_1 * 100);
		header |= BIT(9);
	}

	if (!isnan(g_app_sensor_data.ext_temperature_2)) {
		ext_temperature_2 = (int16_t)(g_app_sensor_data.ext_temperature_2 * 100);
		header |= BIT(8);
	}

#if defined(CONFIG_APP_PROFILE_STICKER_MOTION)
	motion_count = g_app_sensor_data.motion_count;
	header |= BIT(7);
#endif /* defined(CONFIG_APP_PROFILE_STICKER_MOTION) */

	k_mutex_unlock(&g_app_sensor_data_lock);

	header |= orientation;

#define APPEND_BYTE(exp)                                                                           \
	if (*len >= size) {                                                                        \
		LOG_ERR("Not enough space in provided buffer");                                    \
		return -ENOSPC;                                                                    \
	} else {                                                                                   \
		buf[(*len)++] = exp;                                                               \
	}

	*len = 0;

	memset(buf, 0, size);

	APPEND_BYTE(header >> 8);
	APPEND_BYTE(header);

	if (header & BIT(13)) {
		APPEND_BYTE(voltage);
	}

	if (header & BIT(12)) {
		APPEND_BYTE(temperature >> 8);
		APPEND_BYTE(temperature);
	}

	if (header & BIT(11)) {
		APPEND_BYTE(humidity);
	}

	if (header & BIT(10)) {
		APPEND_BYTE(illuminance >> 8);
		APPEND_BYTE(illuminance);
	}

	if (header & BIT(9)) {
		APPEND_BYTE(ext_temperature_1 >> 8);
		APPEND_BYTE(ext_temperature_1);
	}

	if (header & BIT(8)) {
		APPEND_BYTE(ext_temperature_2 >> 8);
		APPEND_BYTE(ext_temperature_2);
	}

#if defined(CONFIG_APP_PROFILE_STICKER_MOTION)
	if (header & BIT(7)) {
		APPEND_BYTE(motion_count >> 24);
		APPEND_BYTE(motion_count >> 16);
		APPEND_BYTE(motion_count >> 8);
		APPEND_BYTE(motion_count);
	}
#endif /* defined(CONFIG_APP_PROFILE_STICKER_MOTION) */

#undef APPEND

	LOG_HEXDUMP_DBG(buf, *len, "Composed buffer:");

	return 0;
}
```

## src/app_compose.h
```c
/*
 * Copyright (c) 2024 HARDWARIO a.s.
 *
 * SPDX-License-Identifier: Apache-2.0
 */

#ifndef APP_COMPOSE_H_
#define APP_COMPOSE_H_

/* Standard includes */
#include <stddef.h>
#include <stdint.h>

#ifdef __cplusplus
extern "C" {
#endif

int app_compose(uint8_t *buf, size_t size, size_t *len);

#ifdef __cplusplus
}
#endif

#endif /* APP_COMPOSE_H_ */
```

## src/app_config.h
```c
/*
 * Copyright (c) 2024 HARDWARIO a.s.
 *
 * SPDX-License-Identifier: Apache-2.0
 */

#ifndef APP_CONFIG_H_
#define APP_CONFIG_H_

/* Standard includes */
#include <stdint.h>

#ifdef __cplusplus
extern "C" {
#endif

struct app_config {
	int interval_sample;
	int interval_report;
	uint8_t lrw_deveui[8];
	uint8_t lrw_devaddr[4];
	uint8_t lrw_nwkskey[16];
	uint8_t lrw_appskey[16];
	float corr_temperature;
	float corr_ext_temperature_1;
	float corr_ext_temperature_2;
	uint32_t serial_number;
};

extern struct app_config g_app_config;

#ifdef __cplusplus
}
#endif

#endif /* APP_CONFIG_H_ */
```

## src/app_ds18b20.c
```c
/*
 * Copyright (c) 2024 HARDWARIO a.s.
 *
 * SPDX-License-Identifier: Apache-2.0
 */

#include "app_ds18b20.h"
#include "app_w1.h"

/* Zephyr includes */
#include <zephyr/device.h>
#include <zephyr/devicetree.h>
#include <zephyr/drivers/sensor.h>
#include <zephyr/drivers/sensor/w1_sensor.h>
#include <zephyr/drivers/w1.h>
#include <zephyr/kernel.h>
#include <zephyr/logging/log.h>
#include <zephyr/sys/byteorder.h>

/* Standard includes */
#include <errno.h>
#include <stddef.h>
#include <stdint.h>

LOG_MODULE_REGISTER(app_ds18b20, LOG_LEVEL_DBG);

struct sensor {
	uint64_t serial_number;
	const struct device *dev;
};

static K_MUTEX_DEFINE(m_lock);

static struct app_w1 m_w1;

static struct sensor m_sensors[] = {
	{.dev = DEVICE_DT_GET(DT_NODELABEL(ds18b20_0))},
	{.dev = DEVICE_DT_GET(DT_NODELABEL(ds18b20_1))},
};

static int m_count;

static int scan_callback(struct w1_rom rom, void *user_data)
{
	int ret;

	if (rom.family != 0x28) {
		return 0;
	}

	uint64_t serial_number = sys_get_le48(rom.serial);

	if (m_count >= ARRAY_SIZE(m_sensors)) {
		LOG_WRN("No more space for additional device: %llu", serial_number);
		return 0;
	}

	if (!device_is_ready(m_sensors[m_count].dev)) {
		LOG_ERR("Device not ready");
		return -ENODEV;
	}

	struct sensor_value val;
	w1_rom_to_sensor_value(&rom, &val);

	ret = sensor_attr_set(m_sensors[m_count].dev, SENSOR_CHAN_ALL, SENSOR_ATTR_W1_ROM, &val);
	if (ret) {
		LOG_ERR("Call `sensor_attr_set` failed: %d", ret);
		return ret;
	}

	m_sensors[m_count++].serial_number = serial_number;

	LOG_DBG("Registered serial number: %llu", serial_number);

	return 0;
}

int app_ds18b20_scan(void)
{
	int ret;
	int res = 0;

	if (k_is_in_isr()) {
		return -EWOULDBLOCK;
	}

	k_mutex_lock(&m_lock, K_FOREVER);

	static const struct device *dev = DEVICE_DT_GET(DT_NODELABEL(ds2484));

	if (!device_is_ready(dev)) {
		LOG_ERR("Device not ready");
		k_mutex_unlock(&m_lock);
		return -ENODEV;
	}

	ret = app_w1_acquire(&m_w1, dev);
	if (ret) {
		LOG_ERR("Call `app_w1_acquire` failed: %d", ret);
		res = ret;
		goto error;
	}

	m_count = 0;

	ret = app_w1_scan(&m_w1, dev, scan_callback, NULL);
	if (ret < 0) {
		LOG_ERR("Call `app_w1_scan` failed: %d", ret);
		res = ret;
		goto error;
	}

error:
	ret = app_w1_release(&m_w1, dev);
	if (ret) {
		LOG_ERR("Call `app_w1_release` failed: %d", ret);
		res = res ? res : ret;
	}

	k_mutex_unlock(&m_lock);

	return res;
}

int app_ds18b20_get_count(void)
{
	if (k_is_in_isr()) {
		return -EWOULDBLOCK;
	}

	k_mutex_lock(&m_lock, K_FOREVER);
	int count = m_count;
	k_mutex_unlock(&m_lock);

	return count;
}

int app_ds18b20_read(int index, uint64_t *serial_number, float *temperature)
{
	int ret;
	int res = 0;

	if (k_is_in_isr()) {
		return -EWOULDBLOCK;
	}

	k_mutex_lock(&m_lock, K_FOREVER);

	if (index < 0 || index >= m_count || !m_count) {
		k_mutex_unlock(&m_lock);
		return -ERANGE;
	}

	static const struct device *dev = DEVICE_DT_GET(DT_NODELABEL(ds2484));

	if (!device_is_ready(dev)) {
		LOG_ERR("Device not ready");
		k_mutex_unlock(&m_lock);
		return -ENODEV;
	}

	if (serial_number) {
		*serial_number = m_sensors[index].serial_number;
	}

	ret = app_w1_acquire(&m_w1, dev);
	if (ret) {
		LOG_ERR("Call `app_w1_acquire` failed: %d", ret);
		res = ret;
		goto error;
	}

	if (!device_is_ready(m_sensors[index].dev)) {
		LOG_ERR("Device not ready");
		res = -ENODEV;
		goto error;
	}

	ret = sensor_sample_fetch(m_sensors[index].dev);
	if (ret) {
		LOG_WRN("Call `sensor_sample_fetch` failed: %d", ret);
		res = ret;
		goto error;
	}

	struct sensor_value val;
	ret = sensor_channel_get(m_sensors[index].dev, SENSOR_CHAN_AMBIENT_TEMP, &val);
	if (ret) {
		LOG_WRN("Call `sensor_channel_get` failed: %d", ret);
		res = ret;
	}

	float temperature_ = val.val1 + val.val2 / 1000000.f;

	LOG_DBG("Temperature: %.2f C", (double)temperature_);

	if (temperature) {
		*temperature = temperature_;
	}

error:
	ret = app_w1_release(&m_w1, dev);
	if (ret) {
		LOG_ERR("Call `app_w1_release` failed: %d", ret);
		res = res ? res : ret;
	}

	k_mutex_unlock(&m_lock);

	return res;
}
```

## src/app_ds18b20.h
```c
/*
 * Copyright (c) 2024 HARDWARIO a.s.
 *
 * SPDX-License-Identifier: Apache-2.0
 */

#ifndef APP_DS18B20_H_
#define APP_DS18B20_H_

/* Standard includes */
#include <stdint.h>

#ifdef __cplusplus
extern "C" {
#endif

int app_ds18b20_scan(void);
int app_ds18b20_get_count(void);
int app_ds18b20_read(int index, uint64_t *serial_number, float *temperature);

#ifdef __cplusplus
}
#endif

#endif /* APP_DS18B20_H_ */
```
